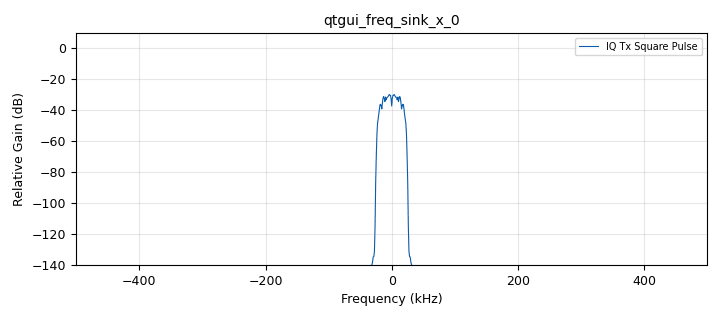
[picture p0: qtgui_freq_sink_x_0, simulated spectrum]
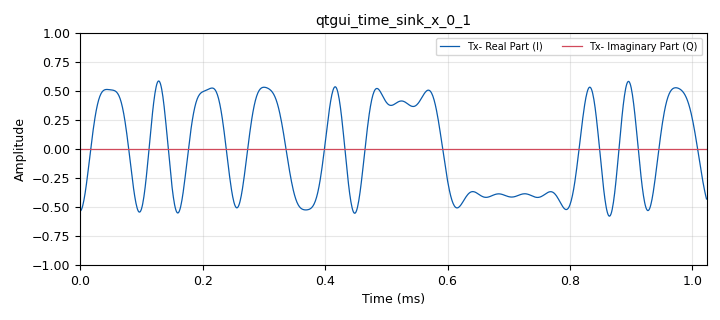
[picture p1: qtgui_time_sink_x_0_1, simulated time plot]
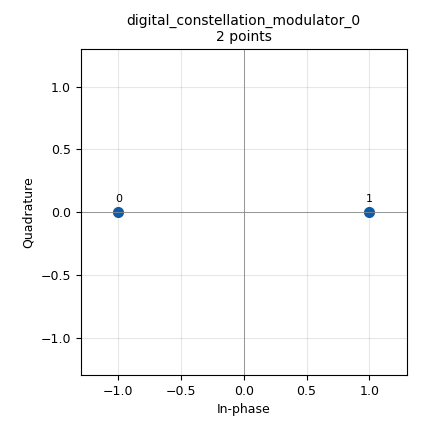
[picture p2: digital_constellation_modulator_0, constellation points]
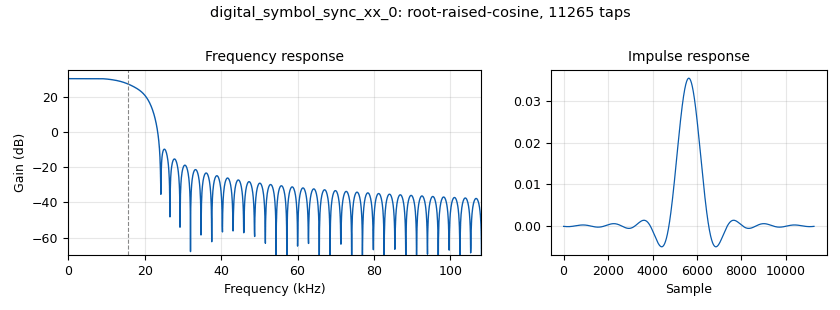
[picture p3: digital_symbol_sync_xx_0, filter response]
options:
  parameters:
    author: Alex Brisson
    generate_options: qt_gui
    id: usrp_lab2
    output_language: python
    title: usrp lab2
  states: {}

blocks:
- name: center_freq
  id: variable
  parameters:
    value: 10e6
  states: {}
- name: constellation
  id: variable_constellation
  parameters:
    precision: '8'
    type: bpsk
  states: {}
- name: constellation
  id: variable_constellation
  parameters:
    precision: '8'
    type: bpsk
  states: {state: disabled}
- name: constellation
  id: variable_constellation
  parameters:
    precision: '8'
    type: bpsk
  states: {state: disabled}
- name: excessbw
  id: variable
  parameters:
    value: '.5'
  states: {}
- name: nfilts
  id: variable
  parameters:
    value: '32'
  states: {}
- name: rrc_taps
  id: variable_rrc_filter_taps
  parameters:
    alpha: excessbw
    gain: nfilts
    ntaps: 11*sps*nfilts
    samp_rate: samp_rate*nfilts
    sym_rate: samp_rate/sps
  states: {}
- name: rrc_taps
  id: variable_rrc_filter_taps
  parameters:
    alpha: excessbw
    gain: nfilts
    ntaps: 11*sps*nfilts
    samp_rate: samp_rate*nfilts
    sym_rate: samp_rate/sps
  states: {state: disabled}
- name: samp_rate
  id: variable
  parameters:
    value: 1e6
  states: {}
- name: sps
  id: variable
  parameters:
    value: '32'
  states: {}
- name: analog_agc_xx_0
  id: analog_agc_xx
  parameters:
    gain: '1.0'
    max_gain: '10'
    rate: '1e-4'
    reference: '.95'
    type: complex
  states: {}
- name: analog_agc_xx_0_0
  id: analog_agc_xx
  parameters:
    gain: '1.0'
    max_gain: '10'
    rate: '1e-4'
    reference: '1.0'
    type: complex
  states: {state: disabled}
- name: analog_agc_xx_0_1
  id: analog_agc_xx
  parameters:
    gain: '1.0'
    max_gain: '10'
    rate: '1e-4'
    reference: '1.0'
    type: complex
  states: {state: disabled}
- name: analog_random_uniform_source_x_0
  id: analog_random_uniform_source_x
  parameters:
    comment: Random Integer Generator
    maximum: '2'
    minimum: '0'
    seed: '0'
    type: byte
  states: {}
- name: analog_random_uniform_source_x_0_0
  id: analog_random_uniform_source_x
  parameters:
    comment: Random Integer Generator
    maximum: '2'
    minimum: '0'
    seed: '0'
    type: byte
  states: {state: disabled}
- name: analog_random_uniform_source_x_0_1
  id: analog_random_uniform_source_x
  parameters:
    comment: Random Integer Generator
    maximum: '2'
    minimum: '0'
    seed: '0'
    type: byte
  states: {state: disabled}
- name: blocks_multiply_const_vxx_0
  id: blocks_multiply_const_vxx
  parameters:
    const: '0.4'
    type: complex
  states: {}
- name: blocks_multiply_const_vxx_0_0
  id: blocks_multiply_const_vxx
  parameters:
    const: '0.4'
    type: complex
  states: {state: disabled}
- name: blocks_multiply_const_vxx_0_1
  id: blocks_multiply_const_vxx
  parameters:
    const: '0.4'
    type: complex
  states: {state: disabled}
- name: blocks_unpacked_to_packed_xx_0
  id: blocks_unpacked_to_packed_xx
  parameters:
    bits_per_chunk: int(log2(constellation.arity()))
    comment: |-
      Each integer from the RUS is converted into a byte. 
      This block packs the last bits in each integer byte 
      into a new "packed" byte to be transmitted.
    endianness: gr.GR_MSB_FIRST
    type: byte
  states: {}
- name: blocks_unpacked_to_packed_xx_0_0
  id: blocks_unpacked_to_packed_xx
  parameters:
    bits_per_chunk: int(log2(constellation.arity()))
    comment: |-
      Each integer from the RUS is converted into a byte. 
      This block packs the last bits in each integer byte 
      into a new "packed" byte to be transmitted.
    endianness: gr.GR_MSB_FIRST
    type: byte
  states: {state: disabled}
- name: blocks_unpacked_to_packed_xx_0_1
  id: blocks_unpacked_to_packed_xx
  parameters:
    bits_per_chunk: int(log2(constellation.arity()))
    comment: |-
      Each integer from the RUS is converted into a byte. 
      This block packs the last bits in each integer byte 
      into a new "packed" byte to be transmitted.
    endianness: gr.GR_MSB_FIRST
    type: byte
  states: {state: disabled}
- name: digital_constellation_modulator_0
  id: digital_constellation_modulator
  parameters:
    constellation: constellation
    differential: 'False'
    excess_bw: excessbw
    samples_per_symbol: sps
  states: {}
- name: digital_constellation_modulator_0_0
  id: digital_constellation_modulator
  parameters:
    constellation: constellation
    differential: 'False'
    excess_bw: excessbw
    samples_per_symbol: sps
  states: {state: disabled}
- name: digital_constellation_modulator_0_1
  id: digital_constellation_modulator
  parameters:
    constellation: constellation
    differential: 'False'
    excess_bw: excessbw
    samples_per_symbol: sps
  states: {state: disabled}
- name: digital_costas_loop_cc_0
  id: digital_costas_loop_cc
  parameters:
    comment: |-
      Fine Phase/Frequency error 
      estimate and correction
    order: constellation.arity()
    w: '62.8e-3'
  states: {}
- name: digital_symbol_sync_xx_0
  id: digital_symbol_sync_xx
  parameters:
    comment: |-
      Clock Recovery- polyphase FB
      and matched filtering
    damping: '1.0'
    loop_bw: '0.045'
    max_dev: '1.5'
    nfilters: nfilts
    osps: '1'
    pfb_mf_taps: rrc_taps
    resamp_type: digital.IR_PFB_MF
    sps: sps
    ted_gain: '1.0'
    ted_type: digital.TED_SIGNAL_TIMES_SLOPE_ML
    type: cc
  states: {}
- name: digital_symbol_sync_xx_0_0
  id: digital_symbol_sync_xx
  parameters:
    comment: |-
      Clock Recovery- polyphase FB
      and matched filtering
    damping: '1.0'
    loop_bw: '0.045'
    max_dev: '1.5'
    nfilters: nfilts
    osps: '1'
    pfb_mf_taps: rrc_taps
    resamp_type: digital.IR_PFB_MF
    sps: sps
    ted_gain: '1.0'
    ted_type: digital.TED_SIGNAL_TIMES_SLOPE_ML
    type: cc
  states: {state: disabled}
- name: import_0
  id: import
  parameters:
    imports: from math import log2
  states: {}
- name: note_0
  id: note
  parameters:
    note: Part 1.5
  states: {}
- name: note_0_0
  id: note
  parameters:
    note: sps = 32,4,2
  states: {}
- name: note_0_0_0
  id: note
  parameters:
    note: 'eye points = 256 '
  states: {}
- name: note_0_0_0_0
  id: note
  parameters:
    note: 'eye points = 256 '
  states: {}
- name: note_0_0_1
  id: note
  parameters:
    note: sps = 32,4,2
  states: {}
- name: note_0_1
  id: note
  parameters:
    note: Part 1.5
  states: {}
- name: qtgui_const_sink_x_0
  id: qtgui_const_sink_x
  parameters:
    label1: Clock Sync
    label2: Costas
    nconnections: '2'
    size: 1024*4
    type: complex
  states: {}
- name: qtgui_const_sink_x_0_0
  id: qtgui_const_sink_x
  parameters:
    label1: Clock Sync
    size: 1024*4
    type: complex
  states: {state: disabled}
- name: qtgui_eye_sink_x_0
  id: qtgui_eye_sink_x
  parameters:
    color2: red
    label1: Real Part (I)
    label2: Imaginary Part (Q)
    samp_per_symbol: '1'
    size: '256'
    srate: samp_rate
    type: complex
    ymax: '2'
    ymin: '-2'
  states: {}
- name: qtgui_eye_sink_x_0_0
  id: qtgui_eye_sink_x
  parameters:
    color2: red
    label1: Real Part (I)
    label2: Imaginary Part (Q)
    samp_per_symbol: sps
    size: '1024'
    srate: samp_rate
    type: complex
    ymax: '2'
    ymin: '-2'
  states: {state: disabled}
- name: qtgui_eye_sink_x_0_1
  id: qtgui_eye_sink_x
  parameters:
    color2: red
    label1: Real Part (I)
    label2: Imaginary Part (Q)
    samp_per_symbol: '1'
    size: '256'
    srate: samp_rate
    type: complex
    ymax: '2'
    ymin: '-2'
  states: {state: disabled}
- name: qtgui_freq_sink_x_0
  id: qtgui_freq_sink_x
  parameters:
    average: '0.05'
    bw: samp_rate
    fc: '0'
    fftsize: '1024'
    grid: 'True'
    gui_hint: 0,1,1,1
    label1: 'IQ Tx Square Pulse '
    type: complex
  states: {}
- name: qtgui_freq_sink_x_0_0
  id: qtgui_freq_sink_x
  parameters:
    average: '0.05'
    bw: samp_rate
    fc: '0'
    fftsize: '1024'
    grid: 'True'
    gui_hint: 0,1,1,1
    label1: 'IQ Tx Square Pulse '
    type: complex
  states: {state: disabled}
- name: qtgui_freq_sink_x_0_1
  id: qtgui_freq_sink_x
  parameters:
    average: '0.05'
    bw: samp_rate
    fc: '0'
    fftsize: '1024'
    grid: 'True'
    gui_hint: 0,1,1,1
    label1: 'IQ Tx Square Pulse '
    type: complex
  states: {state: disabled}
- name: qtgui_time_sink_x_0_0
  id: qtgui_time_sink_x
  parameters:
    grid: 'True'
    gui_hint: 1,0,1,2
    size: int(1.2e6)
    srate: samp_rate
    type: complex
    ymax: '2'
    ymin: '-2'
  states: {state: disabled}
- name: qtgui_time_sink_x_0_1
  id: qtgui_time_sink_x
  parameters:
    gui_hint: 0,0,1,1
    label1: 'Tx- Real Part (I) '
    label2: Tx- Imaginary Part (Q)
    size: '1024'
    srate: samp_rate
    type: complex
  states: {}
- name: qtgui_time_sink_x_0_1_0
  id: qtgui_time_sink_x
  parameters:
    gui_hint: 0,0,1,1
    label1: 'Tx- Real Part (I) '
    label2: Tx- Imaginary Part (Q)
    size: '1024'
    srate: samp_rate
    type: complex
  states: {state: disabled}
- name: qtgui_time_sink_x_0_1_1
  id: qtgui_time_sink_x
  parameters:
    gui_hint: 0,0,1,1
    label1: 'Tx- Real Part (I) '
    label2: Tx- Imaginary Part (Q)
    size: '1024'
    srate: samp_rate
    type: complex
  states: {state: disabled}
- name: qtgui_time_sink_x_1_0
  id: qtgui_time_sink_x
  parameters:
    gui_hint: 1,0,1,2
    label1: Rx- Real Part (I)
    label2: Rx- Imaginary Part (Q)
    size: '1024'
    srate: samp_rate
    type: complex
    ymax: '2'
    ymin: '-2'
  states: {}
- name: qtgui_time_sink_x_1_0_0
  id: qtgui_time_sink_x
  parameters:
    gui_hint: 1,0,1,2
    label1: Rx- Real Part (I)
    label2: Rx- Imaginary Part (Q)
    size: '1024'
    srate: samp_rate
    type: complex
    ymax: '2'
    ymin: '-2'
  states: {state: disabled}
- name: root_raised_cosine_filter_0_0
  id: root_raised_cosine_filter
  parameters:
    alpha: excessbw
    decim: '1'
    gain: '1'
    ntaps: 11*sps
    samp_rate: samp_rate
    sym_rate: samp_rate/sps
    type: fir_filter_ccf
  states: {state: disabled}
- name: uhd_usrp_sink_0_0
  id: uhd_usrp_sink
  parameters:
    ant0: '"TX/RX"'
    center_freq0: center_freq
    comment: USRP Transmiter
    gain0: '0'
    samp_rate: samp_rate
    sync: none
    type: fc32
  states: {}
- name: uhd_usrp_sink_0_0_0
  id: uhd_usrp_sink
  parameters:
    ant0: '"TX/RX"'
    center_freq0: center_freq
    comment: USRP Transmiter
    gain0: '0'
    samp_rate: samp_rate
    sync: none
    type: fc32
  states: {state: disabled}
- name: uhd_usrp_sink_0_0_1
  id: uhd_usrp_sink
  parameters:
    ant0: '"TX/RX"'
    center_freq0: center_freq
    comment: USRP Transmiter
    gain0: '0'
    samp_rate: samp_rate
    sync: none
    type: fc32
  states: {state: disabled}
- name: uhd_usrp_source_0_0
  id: uhd_usrp_source
  parameters:
    ant0: '"RX2"'
    center_freq0: center_freq +0.5
    comment: USRP Receiver
    gain0: '0'
    samp_rate: samp_rate
    sync: none
    type: fc32
  states: {}
- name: uhd_usrp_source_0_0_0
  id: uhd_usrp_source
  parameters:
    ant0: '"RX2"'
    center_freq0: center_freq +0.5
    comment: USRP Receiver
    gain0: '0'
    samp_rate: samp_rate
    sync: none
    type: fc32
  states: {state: disabled}
- name: uhd_usrp_source_0_0_1
  id: uhd_usrp_source
  parameters:
    ant0: '"RX2"'
    center_freq0: center_freq +0.5
    comment: USRP Receiver
    gain0: '0'
    samp_rate: samp_rate
    sync: none
    type: fc32
  states: {state: disabled}

connections:
- [analog_agc_xx_0, '0', digital_symbol_sync_xx_0, '0']
- [analog_agc_xx_0_0, '0', root_raised_cosine_filter_0_0, '0']
- [analog_agc_xx_0_1, '0', digital_symbol_sync_xx_0_0, '0']
- [analog_agc_xx_0_1, '0', qtgui_time_sink_x_0_0, '0']
- [analog_random_uniform_source_x_0, '0', blocks_unpacked_to_packed_xx_0, '0']
- [analog_random_uniform_source_x_0_0, '0', blocks_unpacked_to_packed_xx_0_0, '0']
- [analog_random_uniform_source_x_0_1, '0', blocks_unpacked_to_packed_xx_0_1, '0']
- [blocks_multiply_const_vxx_0, '0', qtgui_freq_sink_x_0, '0']
- [blocks_multiply_const_vxx_0, '0', qtgui_time_sink_x_0_1, '0']
- [blocks_multiply_const_vxx_0, '0', uhd_usrp_sink_0_0, '0']
- [blocks_multiply_const_vxx_0_0, '0', qtgui_freq_sink_x_0_0, '0']
- [blocks_multiply_const_vxx_0_0, '0', qtgui_time_sink_x_0_1_0, '0']
- [blocks_multiply_const_vxx_0_0, '0', uhd_usrp_sink_0_0_0, '0']
- [blocks_multiply_const_vxx_0_1, '0', qtgui_freq_sink_x_0_1, '0']
- [blocks_multiply_const_vxx_0_1, '0', qtgui_time_sink_x_0_1_1, '0']
- [blocks_multiply_const_vxx_0_1, '0', uhd_usrp_sink_0_0_1, '0']
- [blocks_unpacked_to_packed_xx_0, '0', digital_constellation_modulator_0, '0']
- [blocks_unpacked_to_packed_xx_0_0, '0', digital_constellation_modulator_0_0, '0']
- [blocks_unpacked_to_packed_xx_0_1, '0', digital_constellation_modulator_0_1, '0']
- [digital_constellation_modulator_0, '0', blocks_multiply_const_vxx_0, '0']
- [digital_constellation_modulator_0_0, '0', blocks_multiply_const_vxx_0_0, '0']
- [digital_constellation_modulator_0_1, '0', blocks_multiply_const_vxx_0_1, '0']
- [digital_costas_loop_cc_0, '0', qtgui_const_sink_x_0, '1']
- [digital_costas_loop_cc_0, '0', qtgui_eye_sink_x_0, '0']
- [digital_costas_loop_cc_0, '0', qtgui_time_sink_x_1_0, '0']
- [digital_symbol_sync_xx_0, '0', digital_costas_loop_cc_0, '0']
- [digital_symbol_sync_xx_0, '0', qtgui_const_sink_x_0, '0']
- [digital_symbol_sync_xx_0_0, '0', qtgui_const_sink_x_0_0, '0']
- [digital_symbol_sync_xx_0_0, '0', qtgui_eye_sink_x_0_1, '0']
- [root_raised_cosine_filter_0_0, '0', qtgui_eye_sink_x_0_0, '0']
- [root_raised_cosine_filter_0_0, '0', qtgui_time_sink_x_1_0_0, '0']
- [uhd_usrp_source_0_0, '0', analog_agc_xx_0, '0']
- [uhd_usrp_source_0_0_0, '0', analog_agc_xx_0_0, '0']
- [uhd_usrp_source_0_0_1, '0', analog_agc_xx_0_1, '0']

metadata:
  file_format: 1
  grc_version: 3.10.5.1
